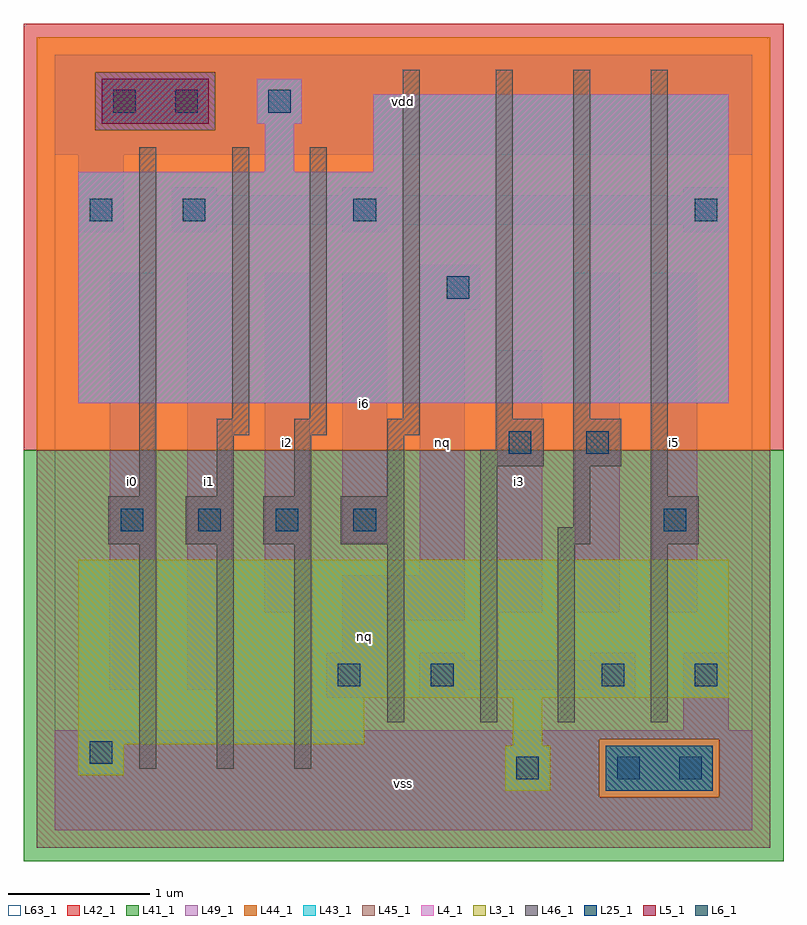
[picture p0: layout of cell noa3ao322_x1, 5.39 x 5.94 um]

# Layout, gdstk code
import gdstk
lib = gdstk.Library(unit=1e-6, precision=1e-09)
def R(c, l, rs):  # rectangles x0, y0, x1, y1
    for r in rs: c.add(gdstk.rectangle(r[:2], r[2:], *l))
def A(c, l, x, y, w, h, nx, ny, dx, dy):  # array of equal rectangles
    R(c, l, [(x+i*dx, y+j*dy, x+i*dx+w, y+j*dy+h) for i in range(nx) for j in range(ny)])
L3_1 = (3, 1)
L4_1 = (4, 1)
L5_1 = (5, 1)
L6_1 = (6, 1)
L25_1 = (25, 1)
L41_1 = (41, 1)
L42_1 = (42, 1)
L43_1 = (43, 1)
L44_1 = (44, 1)
L45_1 = (45, 1)
L46_1 = (46, 1)
L49_1 = (49, 1)
L63_1 = (63, 1)

noa3ao322_x1 = lib.new_cell('noa3ao322_x1')
R(noa3ao322_x1, L3_1, [(3.195,0.28,3.515,0.6), (0.17,0.39,0.49,0.61), (3.25,0.6,3.46,0.94), (0.17,0.61,2.195,0.94), (0.17,0.94,4.78,1.92)])
R(noa3ao322_x1, L4_1, [(0.17,3.03,4.78,4.67), (1.49,4.67,1.7,5.01), (2.26,4.67,4.78,5.22), (1.435,5.01,1.755,5.33)])
R(noa3ao322_x1, L5_1, [(0.335,5.01,1.095,5.33)])
R(noa3ao322_x1, L6_1, [(3.91,0.28,4.67,0.6)])
A(noa3ao322_x1, L25_1, 0.47, 2.12, 0.16, 0.16, 4, 1, 0.55, 0)
R(noa3ao322_x1, L25_1, [(3.275,0.36,3.435,0.52), (3.99,0.36,4.15,0.52), (4.43,0.36,4.59,0.52), (0.25,0.47,0.41,0.63), (2.01,1.02,2.17,1.18), (2.67,1.02,2.83,1.18), (3.88,1.02,4.04,1.18), (4.54,1.02,4.7,1.18), (4.32,2.12,4.48,2.28), (3.22,2.67,3.38,2.83), (3.77,2.67,3.93,2.83), (2.78,3.77,2.94,3.93), (0.25,4.32,0.41,4.48), (0.91,4.32,1.07,4.48), (2.12,4.32,2.28,4.48), (4.54,4.32,4.7,4.48), (0.415,5.09,0.575,5.25), (0.855,5.09,1.015,5.25), (1.515,5.09,1.675,5.25)])
R(noa3ao322_x1, L41_1, [(-0.22,-0.22,5.17,2.695)])
R(noa3ao322_x1, L42_1, [(-0.22,2.695,5.17,5.72)])
R(noa3ao322_x1, L43_1, [(3.195,0.28,3.515,0.6), (3.91,0.28,4.67,0.6), (0.17,0.39,0.49,0.61), (3.25,0.6,3.46,0.94), (0.17,0.61,2.195,0.94), (0.17,0.94,4.78,1.92), (0.17,3.03,4.78,4.67), (1.49,4.67,1.7,5.01), (2.26,4.67,4.78,5.22), (0.335,5.01,1.095,5.33), (1.435,5.01,1.755,5.33)])
R(noa3ao322_x1, L44_1, [(3.865,0.235,4.715,0.645), (-0.125,2.695,5.075,4.965), (-0.125,4.965,0.29,5.375), (1.14,4.965,5.075,5.375), (-0.125,5.375,5.075,5.625)])
R(noa3ao322_x1, L45_1, [(-0.125,-0.125,5.075,0.235), (-0.125,0.235,3.865,0.645), (4.715,0.235,5.075,0.645), (-0.125,0.645,5.075,2.695), (0.29,4.965,1.14,5.375)])
A(noa3ao322_x1, L46_1, 0.6, 0.435, 0.12, 1.595, 3, 1, 0.55, 0)
A(noa3ao322_x1, L46_1, 0.38, 2.03, 0.34, 0.34, 3, 1, 0.55, 0)
R(noa3ao322_x1, L46_1, [(2.36,0.765,2.48,2.03), (3.02,0.765,3.14,2.58), (3.57,0.765,3.69,2.03), (4.23,0.765,4.35,2.03), (2.03,2.03,2.48,2.37), (3.57,2.03,3.8,2.15), (4.23,2.03,4.57,2.37), (3.68,2.15,3.8,2.58), (0.6,2.37,0.72,4.845), (1.15,2.37,1.27,2.8), (1.7,2.37,1.82,2.8), (2.36,2.37,2.48,2.8), (4.23,2.37,4.35,5.395), (3.02,2.58,3.47,2.7), (3.68,2.58,4.02,2.92), (3.13,2.7,3.47,2.92), (1.15,2.8,1.38,2.92), (1.7,2.8,1.93,2.92), (2.36,2.8,2.59,2.92), (1.26,2.92,1.38,4.845), (1.81,2.92,1.93,4.845), (2.47,2.92,2.59,5.395), (3.13,2.92,3.25,5.395), (3.68,2.92,3.8,5.395)])
R(noa3ao322_x1, L49_1, [(0,0,4.95,0.71), (4.46,0.71,4.78,1.26), (1.93,0.94,2.36,1.26), (2.59,0.94,2.91,0.995), (3.8,0.94,4.12,0.995), (0.39,0.995,0.71,3.955), (0.94,0.995,1.26,3.955), (2.59,0.995,4.12,1.205), (2.59,1.205,2.91,1.26), (3.8,1.205,4.12,1.26), (2.04,1.26,2.36,1.49), (2.04,1.49,2.91,1.81), (1.49,1.545,1.81,3.955), (3.14,1.545,3.46,3.405), (3.69,1.545,4.01,3.955), (4.24,1.545,4.56,3.955), (2.59,1.81,2.91,3.69), (2.04,2.04,2.36,3.955), (2.59,3.69,3.02,4.01), (0.17,4.24,0.49,4.79), (0.83,4.24,1.15,4.295), (2.04,4.24,2.36,4.295), (4.46,4.24,4.78,4.295), (0.83,4.295,4.78,4.505), (0.83,4.505,1.15,4.56), (2.04,4.505,2.36,4.56), (4.46,4.505,4.78,4.56), (0,4.79,4.95,5.5)])
R(noa3ao322_x1, L63_1, [(0,0,4.95,5.5)])
noa3ao322_x1.add(gdstk.Label('i0', (0.55,2.475), layer=49, texttype=1))
noa3ao322_x1.add(gdstk.Label('i0', (0.55,2.475), layer=49, texttype=1))
noa3ao322_x1.add(gdstk.Label('i2', (1.65,2.75), layer=49, texttype=1))
noa3ao322_x1.add(gdstk.Label('i1', (1.1,2.475), layer=49, texttype=1))
noa3ao322_x1.add(gdstk.Label('i2', (1.65,2.75), layer=49, texttype=1))
noa3ao322_x1.add(gdstk.Label('i1', (1.1,2.475), layer=49, texttype=1))
noa3ao322_x1.add(gdstk.Label('vss', (2.475,0.33), layer=49, texttype=1))
noa3ao322_x1.add(gdstk.Label('vss', (2.475,0.33), layer=49, texttype=1))
noa3ao322_x1.add(gdstk.Label('nq', (2.2,1.375), layer=49, texttype=1))
noa3ao322_x1.add(gdstk.Label('nq', (2.2,1.375), layer=49, texttype=1))
noa3ao322_x1.add(gdstk.Label('nq', (2.75,2.75), layer=49, texttype=1))
noa3ao322_x1.add(gdstk.Label('i6', (2.2,3.025), layer=49, texttype=1))
noa3ao322_x1.add(gdstk.Label('nq', (2.75,2.75), layer=49, texttype=1))
noa3ao322_x1.add(gdstk.Label('i6', (2.2,3.025), layer=49, texttype=1))
noa3ao322_x1.add(gdstk.Label('vdd', (2.475,5.17), layer=49, texttype=1))
noa3ao322_x1.add(gdstk.Label('vdd', (2.475,5.17), layer=49, texttype=1))
noa3ao322_x1.add(gdstk.Label('i3', (3.3,2.475), layer=49, texttype=1))
noa3ao322_x1.add(gdstk.Label('i3', (3.3,2.475), layer=49, texttype=1))
noa3ao322_x1.add(gdstk.Label('i5', (4.4,2.75), layer=49, texttype=1))
noa3ao322_x1.add(gdstk.Label('i5', (4.4,2.75), layer=49, texttype=1))

lib.write_gds('noa3ao322_x1.gds')
